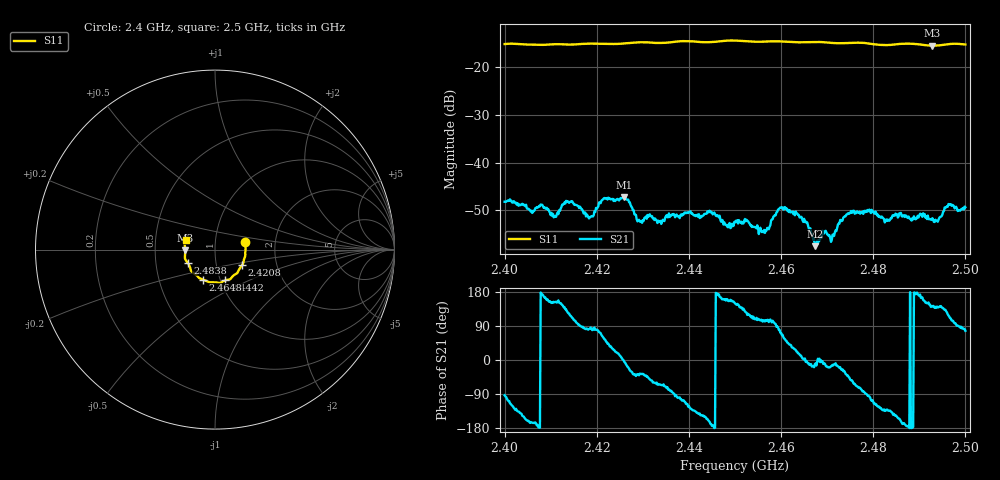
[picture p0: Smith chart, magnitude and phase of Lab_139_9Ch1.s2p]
# Hz S RI R 50
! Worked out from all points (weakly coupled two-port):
!   601 points, 2.4 GHz to 2.5 GHz, reference 50 ohm
!   highest |S21| = -47.25 dB at 2.426 GHz (marker M1); lowest = -57.5 dB at 2.4673 GHz (marker M2)
!   lowest |S11| = -15.6 dB at 2.4928 GHz (marker M3), VSWR 1.40, Z = 35.8 - j0.358 ohm
!   |S11| at or under -10 dB: start of sweep to end of sweep
!   S12 and S22 are empty: the file has one direction only
!   S11 on the Smith chart (normalised r, x): 2.4 GHz: 1.40, +0.12; 2.4208 GHz: 1.33, -0.24; 2.4442 GHz: 1.05, -0.37; 2.4648 GHz: 0.83, -0.29; 2.4838 GHz: 0.73, -0.11; 2.5 GHz: 0.72, +0.08
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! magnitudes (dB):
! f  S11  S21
! 2.4 GHz  -15.3  -48.2
! 2.4108 GHz  -15.3  -51.2
! 2.4133 GHz  -15.3  -48.0
! 2.4167 GHz  -15.2  -49.7
! 2.4187 GHz  -15.2  -51.4
! 2.4208 GHz  -15.2  -48.5
! 2.426 GHz  -15.1  -47.3
! 2.4292 GHz  -14.9  -52.0
! 2.4333 GHz  -15.0  -52.1
! 2.4442 GHz  -14.9  -50.4
! 2.45 GHz  -14.5  -52.5
! 2.4563 GHz  -14.8  -54.1
! 2.4603 GHz  -14.7  -49.6
! 2.4648 GHz  -14.9  -52.4
! 2.4667 GHz  -14.8  -55.0
! 2.4673 GHz  -14.8  -57.5
! 2.4712 GHz  -15.0  -55.1
! 2.4753 GHz  -15.0  -50.5
! 2.4833 GHz  -15.5  -52.1
! 2.4838 GHz  -15.4  -51.6
! 2.4928 GHz  -15.6  -51.6
! 2.5 GHz  -15.4  -49.4
